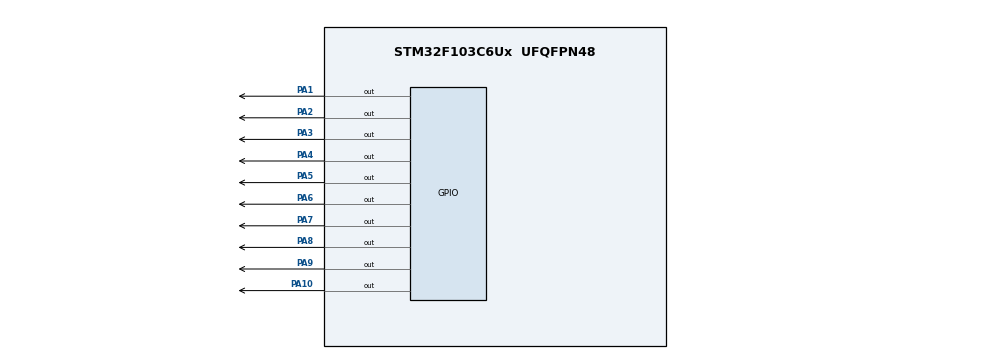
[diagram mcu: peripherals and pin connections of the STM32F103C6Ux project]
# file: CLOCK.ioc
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Mcu.Family=STM32F1
Mcu.Name=STM32F103C6Ux
Mcu.Package=UFQFPN48
NVIC.PriorityGroup=NVIC_PRIORITYGROUP_4
PA1.Signal=GPIO_Output
PA10.Signal=GPIO_Output
PA2.Signal=GPIO_Output
PA3.Signal=GPIO_Output
PA4.Signal=GPIO_Output
PA5.Signal=GPIO_Output
PA6.Signal=GPIO_Output
PA7.Signal=GPIO_Output
PA8.Signal=GPIO_Output
PA9.Signal=GPIO_Output
ProjectManager.HeapSize=0x200
ProjectManager.StackSize=0x400
ProjectManager.TargetToolchain=STM32CubeIDE
RCC.APB1Freq_Value=8000000
RCC.APB2Freq_Value=8000000
VP_SYS_VS_ND.Mode=No_Debug
board=custom

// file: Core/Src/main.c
/* USER CODE BEGIN Header */
/**
  ******************************************************************************
  * @file           : main.c
  * @brief          : Main program body
  ******************************************************************************
  * @attention
  *
  * <h2><center>&copy; Copyright (c) 2022 STMicroelectronics.
  * All rights reserved.</center></h2>
  *
  * This software component is licensed by ST under BSD 3-Clause license,
  * the "License"; You may not use this file except in compliance with the
  * License. You may obtain a copy of the License at:
  *                        opensource.org/licenses/BSD-3-Clause
  *
  ******************************************************************************
  */
/* USER CODE END Header */
#include "main.h"

void SystemClock_Config(void);
static void MX_GPIO_Init(void);
/* USER CODE BEGIN PFP */
int matrix[6][6]={0};
int int_to_pin(int input){
	int pin_gate;
		switch(input){
		case 1:
				pin_gate=GPIO_PIN_1;
				break;
		case 2:
				pin_gate=GPIO_PIN_2;
				break;
		case 3:
				pin_gate=GPIO_PIN_3;
				break;
		case 4:
				pin_gate=GPIO_PIN_4;
				break;
		case 5:
				pin_gate=GPIO_PIN_5;
				break;
		case 6:
				pin_gate=GPIO_PIN_6;
				break;
		case 7:
				pin_gate=GPIO_PIN_7;
				break;
		case 8:
				pin_gate=GPIO_PIN_8;
				break;
		case 9:
				pin_gate=GPIO_PIN_9;
				break;
		case 10:
				pin_gate=GPIO_PIN_10;
				break;
		}
		return pin_gate;
}
void setPin(int input, int logic) {
	GPIO_PinState state;
	if (logic) state = GPIO_PIN_SET;
	else state = GPIO_PIN_RESET;
	int pin_gate=int_to_pin(input);
	HAL_GPIO_WritePin(GPIOA, pin_gate, state);

}
void run(int matrix[][6]) {
	int x,y;
	for (x=1;x<6;x++){
		for (y=1;y<6;y++){
			if (matrix[y][x]) setPin(y+5,0);
			else setPin(y+5,1);
		}
		setPin(x,1);
		HAL_Delay(1);
		setPin(x,0);
	}
}
void clearAllClock(int matrix[][6]){
	for (int i=0;i<6;i++){
		for (int j=0;j<6;j++){
			matrix[i][j]=0;
		}
	}
}
void  setNumberOnClock(int num) {
	switch (num) {
	case 0:
		matrix[1][3]=1;
		break;
	case 1:
		matrix[1][4]=1;
		break;
	case 2:
		matrix[2][5]=1;
		break;
	case 3:
		matrix[3][5]=1;
		break;
	case 4:
		matrix[4][5]=1;
		break;
	case 5:
		matrix[5][4]=1;
		break;
	case 6:
		matrix[5][3]=1;
		break;
	case 7:
		matrix[5][2]=1;
		break;
	case 8:
		matrix[4][1]=1;
		break;
	case 9:
		matrix[3][1]=1;
		break;
	case 10:
		matrix[2][1]=1;
		break;
	case 11:
		matrix[1][2]=1;
		break;
	}
}

void  setNumberOnClock1(int num) {
	switch (num) {
	case 0:
		matrix[1][3]=1;
		break;
	case 1:
		matrix[1][4]=1;
		break;
	case 2:
		matrix[2][5]=1;
		break;
	case 3:
		matrix[3][5]=1;
		break;
	case 4:
		matrix[4][5]=1;
		break;
	case 5:
		matrix[5][4]=1;
		break;
	case 6:
		matrix[5][3]=1;
		break;
	case 7:
		matrix[5][2]=1;
		break;
	case 8:
		matrix[4][1]=1;
		break;
	case 9:
		matrix[3][1]=1;
		break;
	case 10:
		matrix[2][1]=1;
		break;
	case 11:
		matrix[1][2]=1;
		break;
	}
}

void  setNumberOnClock2(int num) {
	switch (num) {
	case 0:
		matrix[1][3]=1;
		break;
	case 1:
		matrix[1][4]=1;
		break;
	case 2:
		matrix[2][5]=1;
		break;
	case 3:
		matrix[3][5]=1;
		break;
	case 4:
		matrix[4][5]=1;
		break;
	case 5:
		matrix[5][4]=1;
		break;
	case 6:
		matrix[5][3]=1;
		break;
	case 7:
		matrix[5][2]=1;
		break;
	case 8:
		matrix[4][1]=1;
		break;
	case 9:
		matrix[3][1]=1;
		break;
	case 10:
		matrix[2][1]=1;
		break;
	case 11:
		matrix[1][2]=1;
		break;
	}
}

void  clearNumberOnClock(int num) {
	switch (num) {
	case 0:
		matrix[1][3]=0;
		break;
	case 1:
		matrix[1][4]=0;
		break;
	case 2:
		matrix[2][5]=0;
		break;
	case 3:
		matrix[3][5]=0;
		break;
	case 4:
		matrix[4][5]=0;
		break;
	case 5:
		matrix[5][4]=0;
		break;
	case 6:
		matrix[5][3]=0;
		break;
	case 7:
		matrix[5][2]=0;
		break;
	case 8:
		matrix[4][1]=0;
		break;
	case 9:
		matrix[3][1]=0;
		break;
	case 10:
		matrix[2][1]=0;
		break;
	case 11:
		matrix[1][2]=0;
		break;
	}
}
void  clearNumberOnClock1(int num) {
	switch (num) {
	case 0:
		matrix[1][3]=0;
		break;
	case 1:
		matrix[1][4]=0;
		break;
	case 2:
		matrix[2][5]=0;
		break;
	case 3:
		matrix[3][5]=0;
		break;
	case 4:
		matrix[4][5]=0;
		break;
	case 5:
		matrix[5][4]=0;
		break;
	case 6:
		matrix[5][3]=0;
		break;
	case 7:
		matrix[5][2]=0;
		break;
	case 8:
		matrix[4][1]=0;
		break;
	case 9:
		matrix[3][1]=0;
		break;
	case 10:
		matrix[2][1]=0;
		break;
	case 11:
		matrix[1][2]=0;
		break;
	}
}
void  clearNumberOnClock2(int num) {
	switch (num) {
	case 0:
		matrix[1][3]=0;
		break;
	case 1:
		matrix[1][4]=0;
		break;
	case 2:
		matrix[2][5]=0;
		break;
	case 3:
		matrix[3][5]=0;
		break;
	case 4:
		matrix[4][5]=0;
		break;
	case 5:
		matrix[5][4]=0;
		break;
	case 6:
		matrix[5][3]=0;
		break;
	case 7:
		matrix[5][2]=0;
		break;
	case 8:
		matrix[4][1]=0;
		break;
	case 9:
		matrix[3][1]=0;
		break;
	case 10:
		matrix[2][1]=0;
		break;
	case 11:
		matrix[1][2]=0;
		break;
	}
}
/* USER CODE END PFP */

int main(void)
{

  /* MCU Configuration--------------------------------------------------------*/

  /* Reset of all peripherals, Initializes the Flash interface and the Systick. */
  HAL_Init();

  /* Configure the system clock */
  SystemClock_Config();

  /* Initialize all configured peripherals */
  MX_GPIO_Init();

  /* Infinite loop */
  /* USER CODE BEGIN WHILE */
  while (1)
  {
	  for(int i =0;i<12;i++) {
	  		  setNumberOnClock(i);
	  		  clearNumberOnClock(i-1);
	  		  run(matrix);
	  		  for(int j=0;j<12;j++) {
	  			  if (j==0 && i!=11) clearNumberOnClock1(11);
	  			  run(matrix);
	  			  setNumberOnClock1(j);
	  			  if((j-1)!=i) clearNumberOnClock1(j-1);
	  			  run(matrix);
	  			  for (int k =0;k<12;k++) {
	  				  if (k==0 && i!=11 && j!=11) clearNumberOnClock2(11);
	  				  run(matrix);
	  				  setNumberOnClock2(k);
	  				  if(k-1!=i && k-1 != j) clearNumberOnClock2(k-1);
	  				  run(matrix);
	  				  HAL_Delay(50);
	  			  }
	  		  }
	  	  }
	  	  clearAllClock(matrix);
    /* USER CODE END WHILE */

  }
}

void SystemClock_Config(void)
{
  RCC_OscInitTypeDef RCC_OscInitStruct = {0};
  RCC_ClkInitTypeDef RCC_ClkInitStruct = {0};

  /** Initializes the RCC Oscillators according to the specified parameters
  * in the RCC_OscInitTypeDef structure.
  */
  RCC_OscInitStruct.OscillatorType = RCC_OSCILLATORTYPE_HSI;
  RCC_OscInitStruct.HSIState = RCC_HSI_ON;
  RCC_OscInitStruct.HSICalibrationValue = RCC_HSICALIBRATION_DEFAULT;
  RCC_OscInitStruct.PLL.PLLState = RCC_PLL_NONE;
  if (HAL_RCC_OscConfig(&RCC_OscInitStruct) != HAL_OK)
  {
    Error_Handler();
  }
  /** Initializes the CPU, AHB and APB buses clocks
  */
  RCC_ClkInitStruct.ClockType = RCC_CLOCKTYPE_HCLK|RCC_CLOCKTYPE_SYSCLK
                              |RCC_CLOCKTYPE_PCLK1|RCC_CLOCKTYPE_PCLK2;
  RCC_ClkInitStruct.SYSCLKSource = RCC_SYSCLKSOURCE_HSI;
  RCC_ClkInitStruct.AHBCLKDivider = RCC_SYSCLK_DIV1;
  RCC_ClkInitStruct.APB1CLKDivider = RCC_HCLK_DIV1;
  RCC_ClkInitStruct.APB2CLKDivider = RCC_HCLK_DIV1;

  if (HAL_RCC_ClockConfig(&RCC_ClkInitStruct, FLASH_LATENCY_0) != HAL_OK)
  {
    Error_Handler();
  }
}

static void MX_GPIO_Init(void)
{
  GPIO_InitTypeDef GPIO_InitStruct = {0};

  /* GPIO Ports Clock Enable */
  __HAL_RCC_GPIOA_CLK_ENABLE();

  /*Configure GPIO pin Output Level */
  HAL_GPIO_WritePin(GPIOA, GPIO_PIN_1|GPIO_PIN_2|GPIO_PIN_3|GPIO_PIN_4
                          |GPIO_PIN_5|GPIO_PIN_6|GPIO_PIN_7|GPIO_PIN_8
                          |GPIO_PIN_9|GPIO_PIN_10, GPIO_PIN_RESET);

  /*Configure GPIO pins : PA1 PA2 PA3 PA4
                           PA5 PA6 PA7 PA8
                           PA9 PA10 */
  GPIO_InitStruct.Pin = GPIO_PIN_1|GPIO_PIN_2|GPIO_PIN_3|GPIO_PIN_4
                          |GPIO_PIN_5|GPIO_PIN_6|GPIO_PIN_7|GPIO_PIN_8
                          |GPIO_PIN_9|GPIO_PIN_10;
  GPIO_InitStruct.Mode = GPIO_MODE_OUTPUT_PP;
  GPIO_InitStruct.Pull = GPIO_NOPULL;
  GPIO_InitStruct.Speed = GPIO_SPEED_FREQ_LOW;
  HAL_GPIO_Init(GPIOA, &GPIO_InitStruct);

}

void Error_Handler(void)
{
  __disable_irq();
  while (1)
  {
  }
}

/************************ (C) COPYRIGHT STMicroelectronics *****END OF FILE****/
